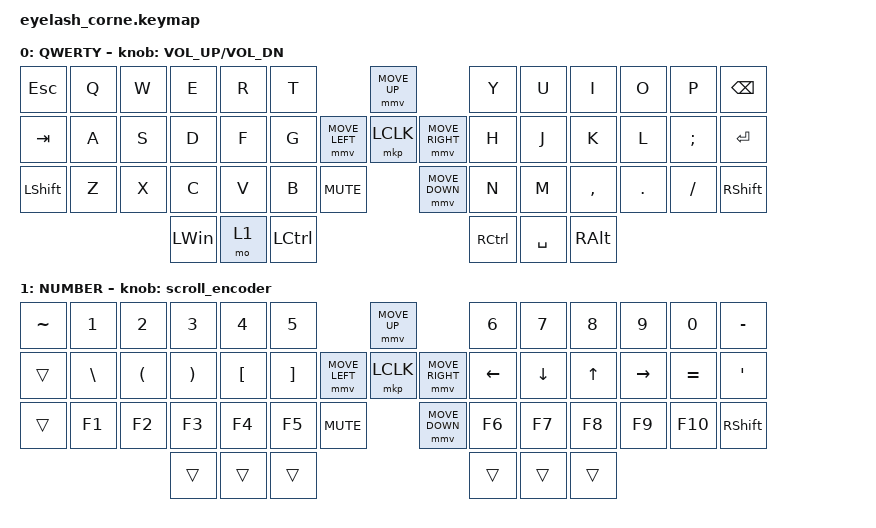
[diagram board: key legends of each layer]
#define ZMK_POINTING_DEFAULT_MOVE_VAL 1200  // 600
#define ZMK_POINTING_DEFAULT_SCRL_VAL 25   // 10

#include <input/processors.dtsi>
#include <zephyr/dt-bindings/input/input-event-codes.h>
#include <behaviors.dtsi>
#include <dt-bindings/zmk/keys.h>
#include <dt-bindings/zmk/pointing.h>
#include <dt-bindings/zmk/rgb.h>

&mmv_input_listener { input-processors = <&zip_xy_scaler 2 1>; };

&msc_input_listener { input-processors = <&zip_scroll_scaler 2 1>; };

&msc {
    acceleration-exponent = <1>;      // 0
    time-to-max-speed-ms = <100>;       // 300
    delay-ms = <0>;                   // 0
};

&mmv {
    time-to-max-speed-ms = <500>;
    acceleration-exponent = <1>;
    trigger-period-ms = <16>;
};

&soft_off { hold-time-ms = <2000>; };

/ {
    behaviors {
        td0: td0 {
            compatible = "zmk,behavior-tap-dance";
            display-name = "Shift/Caps Lock Tap Dance";
            #binding-cells = <0>;
            bindings = <&kp LEFT_SHIFT>, <&kp CAPS>;
        };
    };

    rgb_encoder: rgb_encoder {
        compatible = "zmk,behavior-sensor-rotate";
        #sensor-binding-cells = <0>;
        bindings = <&rgb_ug RGB_BRI>, <&rgb_ug RGB_BRD>;
    };

    scroll_encoder: scroll_encoder {
        compatible = "zmk,behavior-sensor-rotate";
        #sensor-binding-cells = <0>;
        bindings = <&msc SCRL_DOWN>, <&msc SCRL_UP>;

        tap-ms = <100>;
    };

    combos {
        compatible = "zmk,combos";

        softoff {
            bindings = <&soft_off>;
            key-positions = <1 15 29>;
        };
    };

    macros {
        windowsLeft: windowsLeft {
            compatible = "zmk,behavior-macro";
            #binding-cells = <0>;
            bindings = <&kp LEFT_WIN &kp LCTRL &kp LEFT>;
            label = "WINDOWSLEFT";
        };

        windowsRight: windowsRight {
            compatible = "zmk,behavior-macro";
            #binding-cells = <0>;
            bindings = <&kp LEFT_WIN &kp LCTRL &kp RIGHT>;
            label = "WINDOWSRIGHT";
        };
    };

    keymap {
        compatible = "zmk,keymap";

        default_layer {
            display-name = "QWERTY";
            bindings = <
&kp ESC         &kp Q  &kp W  &kp E         &kp R  &kp T                                    &mmv MOVE_UP                     &kp Y              &kp U      &kp I      &kp O    &kp P     &kp BACKSPACE
&kp TAB         &kp A  &kp S  &kp D         &kp F  &kp G                    &mmv MOVE_LEFT  &mkp LCLK       &mmv MOVE_RIGHT  &kp H              &kp J      &kp K      &kp L    &kp SEMI  &kp ENTER
&kp LEFT_SHIFT  &kp Z  &kp X  &kp C         &kp V  &kp B      &kp K_MUTE                    &mmv MOVE_DOWN                   &kp N              &kp M      &kp COMMA  &kp DOT  &kp FSLH  &kp RIGHT_SHIFT
                              &kp LEFT_WIN  &mo 1  &kp LCTRL                                                                 &kp RIGHT_CONTROL  &kp SPACE  &kp RALT
            >;

            sensor-bindings = <&inc_dec_kp C_VOLUME_UP C_VOL_DN>;
        };

        lower_layer {
            display-name = "NUMBER";
            bindings = <
&kp TILDE  &kp NUMBER_1   &kp NUMBER_2          &kp NUMBER_3           &kp NUMBER_4      &kp N5                                           &mmv MOVE_UP                     &kp NUMBER_6  &kp N7    &kp N8        &kp N9     &kp N0     &kp MINUS
&trans     &kp BACKSLASH  &kp LEFT_PARENTHESIS  &kp RIGHT_PARENTHESIS  &kp LEFT_BRACKET  &kp RIGHT_BRACKET                &mmv MOVE_LEFT  &mkp LCLK       &mmv MOVE_RIGHT  &kp LEFT      &kp DOWN  &kp UP_ARROW  &kp RIGHT  &kp EQUAL  &kp APOS
&trans     &kp F1         &kp F2                &kp F3                 &kp F4            &kp F5             &kp C_MUTE                    &mmv MOVE_DOWN                   &kp F6        &kp F7    &kp F8        &kp F9     &kp F10    &kp RIGHT_SHIFT
                                                &trans                 &trans            &trans                                                                            &trans        &trans    &trans
            >;

            sensor-bindings = <&scroll_encoder>;
        };
    };
};
